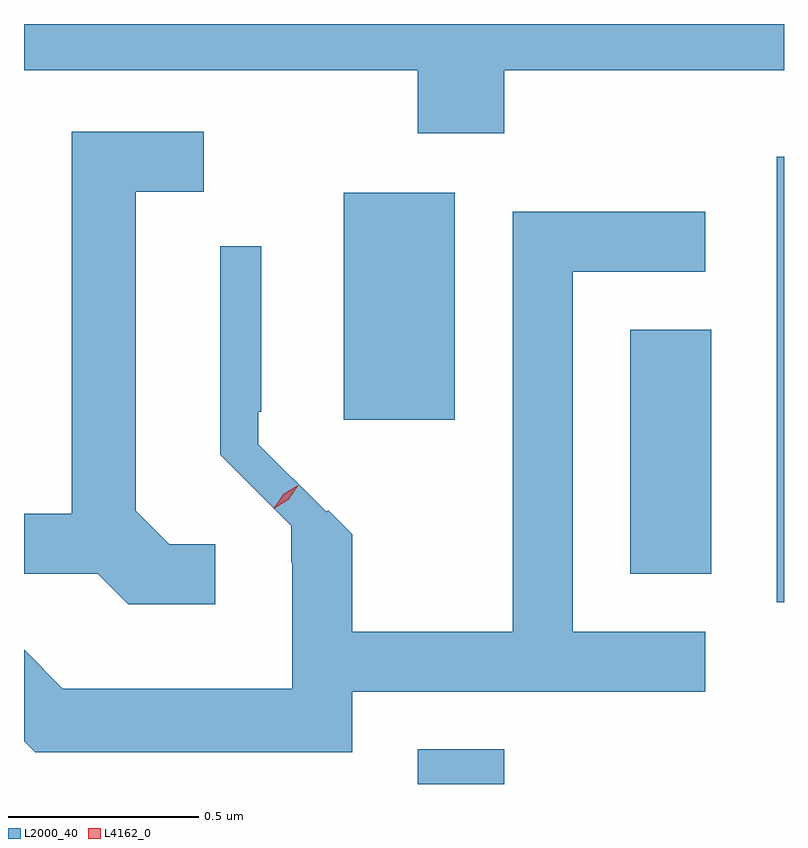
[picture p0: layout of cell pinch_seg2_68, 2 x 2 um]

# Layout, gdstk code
import gdstk
lib = gdstk.Library(unit=1e-6, precision=1e-09)
def R(c, l, rs):  # rectangles x0, y0, x1, y1
    for r in rs: c.add(gdstk.rectangle(r[:2], r[2:], *l))
def P(c, l, *ps):  # polygons
    for p in ps: c.add(gdstk.Polygon(p, *l))
L2000_40 = (2000, 40)
L4162_0 = (4162, 0)

pinch_seg2_68 = lib.new_cell('pinch_seg2_68')
R(pinch_seg2_68, L2000_40, [(1104.571,1101.938,1104.799,1102.029), (1105.516,1102.416,1105.535,1103.589), (1105.131,1102.491,1105.344,1103.134), (1104.376,1102.896,1104.669,1103.494)])
P(pinch_seg2_68, L2000_40, [(1104.799,1103.816),(1105.535,1103.816),(1105.535,1103.938),(1103.535,1103.938),(1103.535,1103.816),(1104.571,1103.816),(1104.571,1103.651),(1104.799,1103.651)],
  [(1104.038,1102.569),(1103.917,1102.569),(1103.829,1102.657),(1103.829,1103.496),(1104.008,1103.496),(1104.008,1103.654),(1103.661,1103.654),(1103.661,1102.649),(1103.535,1102.649),(1103.535,1102.491),(1103.729,1102.491),(1103.809,1102.411),(1104.038,1102.411)],
  [(1104.399,1102.181),(1105.328,1102.181),(1105.328,1102.339),(1104.979,1102.339),(1104.979,1103.286),(1105.328,1103.286),(1105.328,1103.444),(1104.821,1103.444),(1104.821,1102.339),(1104.399,1102.339),(1104.399,1102.595),(1104.335,1102.659),(1104.33,1102.654),(1104.152,1102.832),(1104.152,1102.918),(1104.159,1102.918),(1104.159,1103.353),(1104.051,1103.353),(1104.051,1102.804),(1104.238,1102.617),(1104.238,1102.52),(1104.241,1102.52),(1104.241,1102.189),(1103.637,1102.189),(1103.535,1102.291),(1103.535,1102.05),(1103.564,1102.021),(1104.399,1102.021)])
P(pinch_seg2_68, L4162_0, [(1104.192,1102.663),(1104.192,1102.664),(1104.218,1102.701),(1104.257,1102.724),(1104.257,1102.724),(1104.257,1102.724),(1104.231,1102.686),(1104.192,1102.663)],
  [(1104.196,1102.667),(1104.196,1102.668),(1104.217,1102.701),(1104.252,1102.721),(1104.253,1102.721),(1104.253,1102.72),(1104.231,1102.686),(1104.196,1102.667)])

lib.write_gds('pinch_seg2_68.gds')
